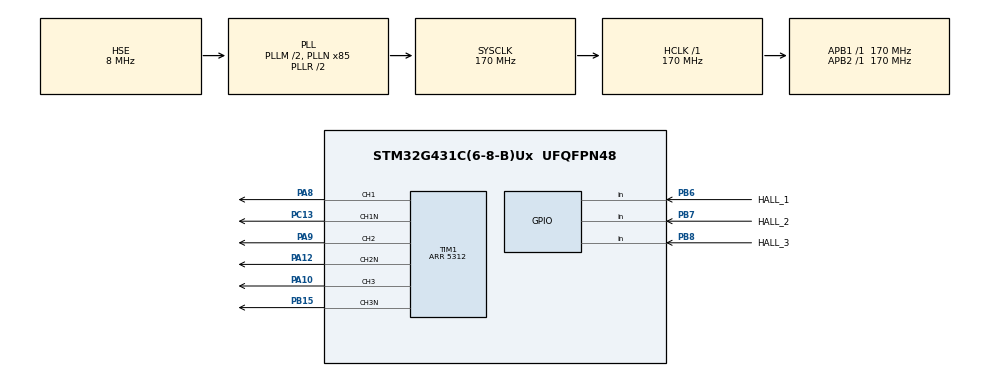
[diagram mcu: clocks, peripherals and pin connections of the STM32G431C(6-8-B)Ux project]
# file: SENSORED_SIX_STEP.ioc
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Mcu.Family=STM32G4
Mcu.Name=STM32G431C(6-8-B)Ux
Mcu.Package=UFQFPN48
NVIC.PriorityGroup=NVIC_PRIORITYGROUP_4
NVIC.TIM1_UP_TIM16_IRQn=true\:0\:0\:false\:false\:true\:true\:true\:true
PA10.Signal=S_TIM1_CH3
PA12.Mode=PWM Generation2 CH2 CH2N
PA12.Signal=TIM1_CH2N
PA8.GPIO_PuPd=GPIO_PULLDOWN
PA8.GPIO_Speed=GPIO_SPEED_FREQ_HIGH
PA8.Signal=S_TIM1_CH1
PA9.Signal=S_TIM1_CH2
PB15.Mode=PWM Generation3 CH3 CH3N
PB15.Signal=TIM1_CH3N
PB6.GPIO_Label=HALL_1
PB6.GPIO_PuPd=GPIO_PULLUP
PB6.Signal=GPIO_Input
PB7.GPIO_Label=HALL_2
PB7.GPIO_PuPd=GPIO_PULLUP
PB7.Signal=GPIO_Input
PB8-BOOT0.GPIO_Label=HALL_3
PB8-BOOT0.GPIO_PuPd=GPIO_PULLUP
PB8-BOOT0.Signal=GPIO_Input
PC13.Mode=PWM Generation1 CH1 CH1N
PC13.Signal=TIM1_CH1N
PF0-OSC_IN.Mode=HSE-External-Oscillator
PF0-OSC_IN.Signal=RCC_OSC_IN
PF1-OSC_OUT.Mode=HSE-External-Oscillator
PF1-OSC_OUT.Signal=RCC_OSC_OUT
ProjectManager.HeapSize=0x200
ProjectManager.StackSize=0x400
ProjectManager.TargetToolchain=Makefile
RCC.ADC12Freq_Value=170000000
RCC.AHBFreq_Value=170000000
RCC.APB1Freq_Value=170000000
RCC.APB1TimFreq_Value=170000000
RCC.APB2Freq_Value=170000000
RCC.APB2TimFreq_Value=170000000
RCC.CortexFreq_Value=170000000
RCC.EXTERNAL_CLOCK_VALUE=12288000
RCC.HCLKFreq_Value=170000000
RCC.HSE_VALUE=8000000
RCC.HSI48_VALUE=48000000
RCC.HSI_VALUE=16000000
RCC.LSE_VALUE=32768
RCC.PLLM=RCC_PLLM_DIV2
RCC.PLLN=85
RCC.PLLSourceVirtual=RCC_PLLSOURCE_HSE
RCC.SYSCLKFreq_VALUE=170000000
RCC.SYSCLKSource=RCC_SYSCLKSOURCE_PLLCLK
RCC.USBFreq_Value=170000000
RCC.VCOOutputFreq_Value=340000000
SH.S_TIM1_CH1.0=TIM1_CH1,PWM Generation1 CH1 CH1N
SH.S_TIM1_CH2.0=TIM1_CH2,PWM Generation2 CH2 CH2N
SH.S_TIM1_CH3.0=TIM1_CH3,PWM Generation3 CH3 CH3N
TIM1.AutoReloadPreload=TIM_AUTORELOAD_PRELOAD_ENABLE
TIM1.Channel-PWM\ Generation1\ CH1\ CH1N=TIM_CHANNEL_1
TIM1.Channel-PWM\ Generation2\ CH2\ CH2N=TIM_CHANNEL_2
TIM1.Channel-PWM\ Generation3\ CH3\ CH3N=TIM_CHANNEL_3
TIM1.CounterMode=TIM_COUNTERMODE_CENTERALIGNED1
TIM1.DeadTime=127
TIM1.PeriodNoDither=5312
TIM1.RepetitionCounter=1
VP_SYS_VS_DBSignals.Mode=DisableDeadBatterySignals
VP_TIM1_VS_ClockSourceINT.Mode=Internal
board=custom

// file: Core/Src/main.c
/* USER CODE BEGIN Header */
/**
  ******************************************************************************
  * @file           : main.c
  * @brief          : Main program body
  ******************************************************************************
  * @attention
  *
  * Copyright (c) 2026 STMicroelectronics.
  * All rights reserved.
  *
  * This software is licensed under terms that can be found in the LICENSE file
  * in the root directory of this software component.
  * If no LICENSE file comes with this software, it is provided AS-IS.
  *
  ******************************************************************************
  */
/* USER CODE END Header */
#include "main.h"

/* USER CODE BEGIN Includes */
#include <stdio.h>
/* USER CODE END Includes */

/* USER CODE BEGIN PTD */
typedef enum { PH_FLOAT, PH_LOW, PH_PWM } PhaseRole;
/* USER CODE END PTD */

/* USER CODE BEGIN PD */
/* Steps to lead the rotor by; this also sets the direction of rotation.
   Try 1 or 2 for one direction, 4 or 5 for the other. 0 and 3 won't spin. */
#define COMMUTATION_OFFSET 4
/* PWM compare used while running, out of Period = 5312 (~9.4%). Start gentle. */
#define RUN_DUTY 700
/* USER CODE END PD */

TIM_HandleTypeDef htim1;

/* USER CODE BEGIN PV */
/* ############# PRIVATE VARIABLES ################# */
volatile uint8_t hall_state = 0; // Stores the state of the hall sensors, volatile because it can be changed outside of the main program flow
/* USER CODE END PV */

void SystemClock_Config(void);
static void MX_GPIO_Init(void);
static void MX_TIM1_Init(void);

/* USER CODE BEGIN PFP */
static void set_phase(uint32_t channel, PhaseRole role, uint16_t duty);
void drive_step(uint8_t step, uint16_t duty);
static uint8_t read_hall_state(void);
static void commutate(void);
/* USER CODE END PFP */

/* USER CODE BEGIN 0 */
/* Retarget printf() to the ARM semihosting channel so output shows up in the
   OpenOCD/GDB console. Overrides the weak _write() in syscalls.c.
   NOTE: this requires a debugger attached with semihosting enabled
   ("monitor arm semihosting enable" in OpenOCD). Running the board
   stand-alone (no debugger) will hang on the first printf. */
int _write(int file, char *ptr, int len)
{
  (void)file;
  for (int i = 0; i < len; i++)
  {
    char c = ptr[i];
    register int r0 asm("r0") = 0x03; /* SYS_WRITEC: write one char */
    register char *r1 asm("r1") = &c;
    asm volatile("bkpt 0xAB" : : "r"(r0), "r"(r1) : "memory");
  }
  return len;
}
/* USER CODE END 0 */

int main(void)
{

  /* MCU Configuration--------------------------------------------------------*/

  /* Reset of all peripherals, Initializes the Flash interface and the Systick. */
  HAL_Init();

  /* Configure the system clock */
  SystemClock_Config();

  /* Initialize all configured peripherals */
  MX_GPIO_Init();
  MX_TIM1_Init();
  /* USER CODE BEGIN 2 */
  setvbuf(stdout, NULL, _IONBF, 0); /* unbuffered: chars come out immediately */
  // printf("Hall debug ready - spin the motor by hand...\r\n");

  GPIO_InitTypeDef GPIO_InitStruct = {0};
  GPIO_InitStruct.Pin  = HALL_1_Pin | HALL_2_Pin | HALL_3_Pin;
  GPIO_InitStruct.Mode = GPIO_MODE_IT_RISING_FALLING;
  GPIO_InitStruct.Pull = GPIO_PULLUP;
  HAL_GPIO_Init(GPIOB, &GPIO_InitStruct);

  /* Arm the NVIC for the shared EXTI9_5 vector */
  HAL_NVIC_SetPriority(EXTI9_5_IRQn, 0, 0);
  HAL_NVIC_EnableIRQ(EXTI9_5_IRQn);

  HAL_TIM_PWM_Start(&htim1, TIM_CHANNEL_1);
  HAL_TIMEx_PWMN_Start(&htim1, TIM_CHANNEL_1);
  HAL_TIM_PWM_Start(&htim1, TIM_CHANNEL_2);
  HAL_TIMEx_PWMN_Start(&htim1, TIM_CHANNEL_2);
  HAL_TIM_PWM_Start(&htim1, TIM_CHANNEL_3);
  HAL_TIMEx_PWMN_Start(&htim1, TIM_CHANNEL_3);

  commutate();
  /* USER CODE END 2 */

  /* Infinite loop */
  while (1)
  {

  }
}

void SystemClock_Config(void)
{
  RCC_OscInitTypeDef RCC_OscInitStruct = {0};
  RCC_ClkInitTypeDef RCC_ClkInitStruct = {0};

  /** Configure the main internal regulator output voltage
  */
  HAL_PWREx_ControlVoltageScaling(PWR_REGULATOR_VOLTAGE_SCALE1_BOOST);

  /** Initializes the RCC Oscillators according to the specified parameters
  * in the RCC_OscInitTypeDef structure.
  */
  RCC_OscInitStruct.OscillatorType = RCC_OSCILLATORTYPE_HSE;
  RCC_OscInitStruct.HSEState = RCC_HSE_ON;
  RCC_OscInitStruct.PLL.PLLState = RCC_PLL_ON;
  RCC_OscInitStruct.PLL.PLLSource = RCC_PLLSOURCE_HSE;
  RCC_OscInitStruct.PLL.PLLM = RCC_PLLM_DIV2;
  RCC_OscInitStruct.PLL.PLLN = 85;
  RCC_OscInitStruct.PLL.PLLP = RCC_PLLP_DIV2;
  RCC_OscInitStruct.PLL.PLLQ = RCC_PLLQ_DIV2;
  RCC_OscInitStruct.PLL.PLLR = RCC_PLLR_DIV2;
  if (HAL_RCC_OscConfig(&RCC_OscInitStruct) != HAL_OK)
  {
    Error_Handler();
  }

  /** Initializes the CPU, AHB and APB buses clocks
  */
  RCC_ClkInitStruct.ClockType = RCC_CLOCKTYPE_HCLK|RCC_CLOCKTYPE_SYSCLK
                              |RCC_CLOCKTYPE_PCLK1|RCC_CLOCKTYPE_PCLK2;
  RCC_ClkInitStruct.SYSCLKSource = RCC_SYSCLKSOURCE_PLLCLK;
  RCC_ClkInitStruct.AHBCLKDivider = RCC_SYSCLK_DIV1;
  RCC_ClkInitStruct.APB1CLKDivider = RCC_HCLK_DIV1;
  RCC_ClkInitStruct.APB2CLKDivider = RCC_HCLK_DIV1;

  if (HAL_RCC_ClockConfig(&RCC_ClkInitStruct, FLASH_LATENCY_4) != HAL_OK)
  {
    Error_Handler();
  }
}

static void MX_TIM1_Init(void)
{

  TIM_ClockConfigTypeDef sClockSourceConfig = {0};
  TIM_MasterConfigTypeDef sMasterConfig = {0};
  TIM_OC_InitTypeDef sConfigOC = {0};
  TIM_BreakDeadTimeConfigTypeDef sBreakDeadTimeConfig = {0};

  htim1.Instance = TIM1;
  htim1.Init.Prescaler = 0;
  htim1.Init.CounterMode = TIM_COUNTERMODE_CENTERALIGNED1;
  htim1.Init.Period = 5312;
  htim1.Init.ClockDivision = TIM_CLOCKDIVISION_DIV1;
  htim1.Init.RepetitionCounter = 1;
  htim1.Init.AutoReloadPreload = TIM_AUTORELOAD_PRELOAD_ENABLE;
  if (HAL_TIM_Base_Init(&htim1) != HAL_OK)
  {
    Error_Handler();
  }
  sClockSourceConfig.ClockSource = TIM_CLOCKSOURCE_INTERNAL;
  if (HAL_TIM_ConfigClockSource(&htim1, &sClockSourceConfig) != HAL_OK)
  {
    Error_Handler();
  }
  if (HAL_TIM_PWM_Init(&htim1) != HAL_OK)
  {
    Error_Handler();
  }
  sMasterConfig.MasterOutputTrigger = TIM_TRGO_RESET;
  sMasterConfig.MasterOutputTrigger2 = TIM_TRGO2_RESET;
  sMasterConfig.MasterSlaveMode = TIM_MASTERSLAVEMODE_DISABLE;
  if (HAL_TIMEx_MasterConfigSynchronization(&htim1, &sMasterConfig) != HAL_OK)
  {
    Error_Handler();
  }
  sConfigOC.OCMode = TIM_OCMODE_PWM1;
  sConfigOC.Pulse = 0;
  sConfigOC.OCPolarity = TIM_OCPOLARITY_HIGH;
  sConfigOC.OCNPolarity = TIM_OCNPOLARITY_HIGH;
  sConfigOC.OCFastMode = TIM_OCFAST_DISABLE;
  sConfigOC.OCIdleState = TIM_OCIDLESTATE_RESET;
  sConfigOC.OCNIdleState = TIM_OCNIDLESTATE_RESET;
  if (HAL_TIM_PWM_ConfigChannel(&htim1, &sConfigOC, TIM_CHANNEL_1) != HAL_OK)
  {
    Error_Handler();
  }
  if (HAL_TIM_PWM_ConfigChannel(&htim1, &sConfigOC, TIM_CHANNEL_2) != HAL_OK)
  {
    Error_Handler();
  }
  if (HAL_TIM_PWM_ConfigChannel(&htim1, &sConfigOC, TIM_CHANNEL_3) != HAL_OK)
  {
    Error_Handler();
  }
  sBreakDeadTimeConfig.OffStateRunMode = TIM_OSSR_DISABLE;
  sBreakDeadTimeConfig.OffStateIDLEMode = TIM_OSSI_DISABLE;
  sBreakDeadTimeConfig.LockLevel = TIM_LOCKLEVEL_OFF;
  sBreakDeadTimeConfig.DeadTime = 127;
  sBreakDeadTimeConfig.BreakState = TIM_BREAK_DISABLE;
  sBreakDeadTimeConfig.BreakPolarity = TIM_BREAKPOLARITY_HIGH;
  sBreakDeadTimeConfig.BreakFilter = 0;
  sBreakDeadTimeConfig.BreakAFMode = TIM_BREAK_AFMODE_INPUT;
  sBreakDeadTimeConfig.Break2State = TIM_BREAK2_DISABLE;
  sBreakDeadTimeConfig.Break2Polarity = TIM_BREAK2POLARITY_HIGH;
  sBreakDeadTimeConfig.Break2Filter = 0;
  sBreakDeadTimeConfig.Break2AFMode = TIM_BREAK_AFMODE_INPUT;
  sBreakDeadTimeConfig.AutomaticOutput = TIM_AUTOMATICOUTPUT_DISABLE;
  if (HAL_TIMEx_ConfigBreakDeadTime(&htim1, &sBreakDeadTimeConfig) != HAL_OK)
  {
    Error_Handler();
  }
  HAL_TIM_MspPostInit(&htim1);

}

static void MX_GPIO_Init(void)
{
  GPIO_InitTypeDef GPIO_InitStruct = {0};

  /* GPIO Ports Clock Enable */
  __HAL_RCC_GPIOC_CLK_ENABLE();
  __HAL_RCC_GPIOF_CLK_ENABLE();
  __HAL_RCC_GPIOB_CLK_ENABLE();
  __HAL_RCC_GPIOA_CLK_ENABLE();

  /*Configure GPIO pins : HALL_1_Pin HALL_2_Pin HALL_3_Pin */
  GPIO_InitStruct.Pin = HALL_1_Pin|HALL_2_Pin|HALL_3_Pin;
  GPIO_InitStruct.Mode = GPIO_MODE_INPUT;
  GPIO_InitStruct.Pull = GPIO_PULLUP;
  HAL_GPIO_Init(GPIOB, &GPIO_InitStruct);

}

/* USER CODE BEGIN 4 */

static const uint8_t step_for_hall[8] = {
  [6] = 0,
  [4] = 1,
  [5] = 2,
  [1] = 3,
  [3] = 4,
  [2] = 5,
  [0] = 0xFF,
  [7] = 0xFF
};
static uint8_t read_hall_state(void){
    uint8_t h1 = HAL_GPIO_ReadPin(HALL_1_GPIO_Port, HALL_1_Pin);
    uint8_t h2 = HAL_GPIO_ReadPin(HALL_2_GPIO_Port, HALL_2_Pin);
    uint8_t h3 = HAL_GPIO_ReadPin(HALL_3_GPIO_Port, HALL_3_Pin);
    return (h3 << 2) | (h2 << 1) | h1;
}
static void set_phase(uint32_t channel, PhaseRole role, uint16_t duty)
{
  uint32_t ccer_enable_bits;
  uint16_t compare_value;

  switch (channel)
  {
  case TIM_CHANNEL_1:
    ccer_enable_bits = TIM_CCER_CC1E | TIM_CCER_CC1NE;
    break;

  case TIM_CHANNEL_2:
  ccer_enable_bits = TIM_CCER_CC2E | TIM_CCER_CC2NE;
    break;

  case TIM_CHANNEL_3:
  ccer_enable_bits = TIM_CCER_CC3E | TIM_CCER_CC3NE;
    break;

  default:
    return;
  }

  if (role == PH_FLOAT){
    TIM1->CCER &= ~ccer_enable_bits;
    return;
  }

  if (role == PH_PWM)
  {
      compare_value = duty;   /* PWM role: high side switches at the requested duty */
  }
  else
  {
      compare_value = 0;      /* must be PH_LOW (returned early for PH_FLOAT),
                                 and compare = 0 keeps the low side on all period */
  }

  TIM1->CCER |= ccer_enable_bits; // ORs CCER with our bits that we want to enable for whatever phase we are in
  __HAL_TIM_SET_COMPARE(&htim1, channel, compare_value);

}

/*
 *   step | PWM | LOW | FLOAT
 *    0   |  A  |  B  |  C
 *    1   |  A  |  C  |  B
 *    2   |  B  |  C  |  A
 *    3   |  B  |  A  |  C
 *    4   |  C  |  A  |  B
 *    5   |  C  |  B  |  A
 */
void drive_step(uint8_t step, uint16_t duty)
{
  switch (step)
      {
      case 0: /* PWM=A, LOW=B, FLOAT=C */
        set_phase(TIM_CHANNEL_1, PH_PWM,   duty);
        set_phase(TIM_CHANNEL_2, PH_LOW,   duty);
        set_phase(TIM_CHANNEL_3, PH_FLOAT, duty);
        break;

      case 1: /* PWM=A, LOW=C, FLOAT=B */
        set_phase(TIM_CHANNEL_1, PH_PWM,   duty);
        set_phase(TIM_CHANNEL_2, PH_FLOAT, duty);
        set_phase(TIM_CHANNEL_3, PH_LOW,   duty);
        break;

      case 2:
        set_phase(TIM_CHANNEL_1, PH_FLOAT, duty);
        set_phase(TIM_CHANNEL_2, PH_PWM, duty);
        set_phase(TIM_CHANNEL_3, PH_LOW, duty);
        break;

      case 3:
        set_phase(TIM_CHANNEL_1, PH_LOW, duty);
        set_phase(TIM_CHANNEL_2, PH_PWM, duty);
        set_phase(TIM_CHANNEL_3, PH_FLOAT, duty);
        break;

      case 4:
        set_phase(TIM_CHANNEL_1, PH_LOW, duty);
        set_phase(TIM_CHANNEL_2, PH_FLOAT, duty);
        set_phase(TIM_CHANNEL_3, PH_PWM, duty);
        break;

      case 5:
        set_phase(TIM_CHANNEL_1, PH_FLOAT, duty);
        set_phase(TIM_CHANNEL_2, PH_LOW, duty);
        set_phase(TIM_CHANNEL_3, PH_PWM, duty);
        break;

      default: /* invalid step: safest thing is everything off */
          set_phase(TIM_CHANNEL_1, PH_FLOAT, 0);
          set_phase(TIM_CHANNEL_2, PH_FLOAT, 0);
          set_phase(TIM_CHANNEL_3, PH_FLOAT, 0);
          break;
      }
  }

static void commutate(void){
  uint8_t state = read_hall_state();
  uint8_t hold = step_for_hall[state];
  uint8_t step;

  if (hold == 0xFF){
    drive_step(0xFF, 0);
    return;
  }

  step = (hold + COMMUTATION_OFFSET) % 6;

  drive_step(step, RUN_DUTY);

  hall_state = state;

}

void  HAL_GPIO_EXTI_Callback(uint16_t GPIO_Pin){
  if (GPIO_Pin == GPIO_PIN_6 || GPIO_Pin == GPIO_PIN_7 || GPIO_Pin == GPIO_PIN_8){
    commutate();
  }
}

/* USER CODE END 4 */

void Error_Handler(void)
{
  __disable_irq();
  while (1)
  {
  }
}
